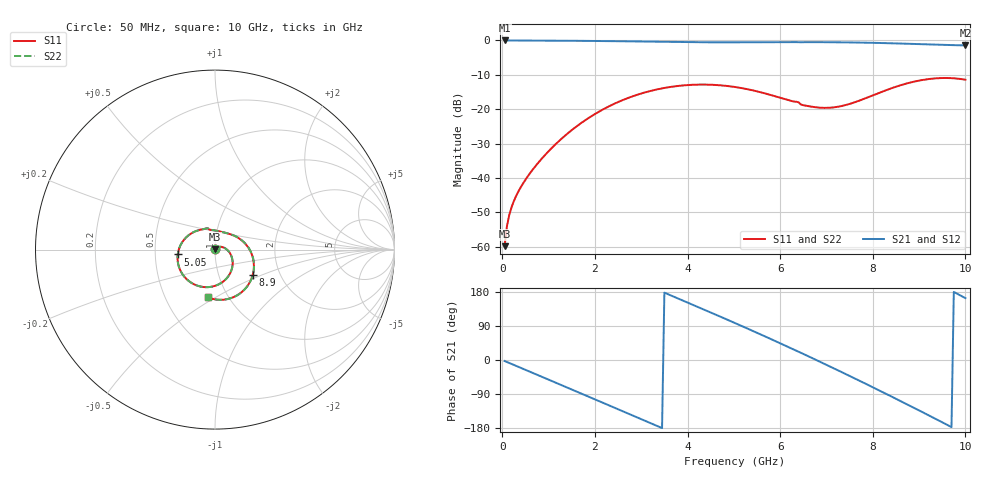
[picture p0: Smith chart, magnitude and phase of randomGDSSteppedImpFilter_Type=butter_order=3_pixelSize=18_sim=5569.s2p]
! freq	dB(S11)	phase(S11)	dB(S12)	phase(S12)
!  dB(S21)	phase(S21)	dB(S22)	phase(S22)
!S-par simulation data
#  GHz  S  DB  R 50
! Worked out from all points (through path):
!   200 points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, 50 MHz to 10 GHz, reference 50 ohm
!   highest |S21| = -0.01 dB at 50 MHz (marker M1); lowest = -1.4 dB at 10 GHz (marker M2)
!   group delay of S21, straight-line fit = 153 ps
!   lowest |S11| = -59.8 dB at 50 MHz (marker M3), VSWR 1.00, Z = 50 + j0.1 ohm
!   |S11| at or under -10 dB: start of sweep to end of sweep
!   |S22| runs from -59.8 to -10.9 dB; largest |S21 - S12| = 0
!   S11 on the Smith chart (normalised r, x): 50 MHz: 1.00, +0.00; 5.05 GHz: 0.66, -0.04; 8.9 GHz: 1.46, -0.43; 10 GHz: 0.81, -0.46
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0.05  -59.82 79.6  -0.01 -2.7  -0.01 -2.7  -59.82 79.6
0.1  -54.04 77.6  -0.01 -5.3  -0.01 -5.3  -54.04 77.5
0.2  -48.49 72.4  -0.02 -10.4  -0.02 -10.4  -48.49 72.3
0.45  -41.54 62.8  -0.03 -23.4  -0.03 -23.4  -41.54 62.7
1.15  -30.20 31.3  -0.07 -59.6  -0.07 -59.6  -30.20 31.0
1.75  -23.58 0.3  -0.12 -90.8  -0.12 -90.8  -23.58 0.0
2.2  -19.88 -23.4  -0.18 -114.3  -0.18 -114.3  -19.88 -23.6
2.65  -17.07 -47.1  -0.25 -137.8  -0.25 -137.8  -17.07 -47.3
3.4  -14.07 -86.3  -0.40 -177.0  -0.40 -177.0  -14.08 -86.5
4.15  -12.88 -125.3  -0.52 143.8  -0.52 143.8  -12.88 -125.5
4.6  -12.94 -148.8  -0.55 120.1  -0.55 120.1  -12.95 -149.0
5.05  -13.59 -172.7  -0.55 96.2  -0.55 96.2  -13.59 -172.9
5.4  -14.49 168.4  -0.53 77.3  -0.53 77.3  -14.49 168.1
5.8  -15.88 146.2  -0.50 55.3  -0.50 55.3  -15.88 146.0
6.3  -17.76 117.4  -0.48 27.2  -0.48 27.2  -17.76 117.3
6.7  -19.31 93.4  -0.49 4.6  -0.49 4.6  -19.31 93.5
7.4  -18.84 52.5  -0.56 -36.2  -0.56 -36.2  -18.84 52.9
7.9  -16.52 24.0  -0.66 -65.9  -0.66 -65.9  -16.51 24.5
8.35  -14.16 -1.7  -0.81 -93.1  -0.81 -93.1  -14.16 -1.3
8.9  -11.96 -33.5  -1.04 -126.9  -1.04 -126.9  -11.95 -33.1
9.45  -10.95 -65.7  -1.28 -161.2  -1.28 -161.2  -10.95 -65.3
10  -11.43 -98.6  -1.44 163.2  -1.44 163.2  -11.42 -98.1
